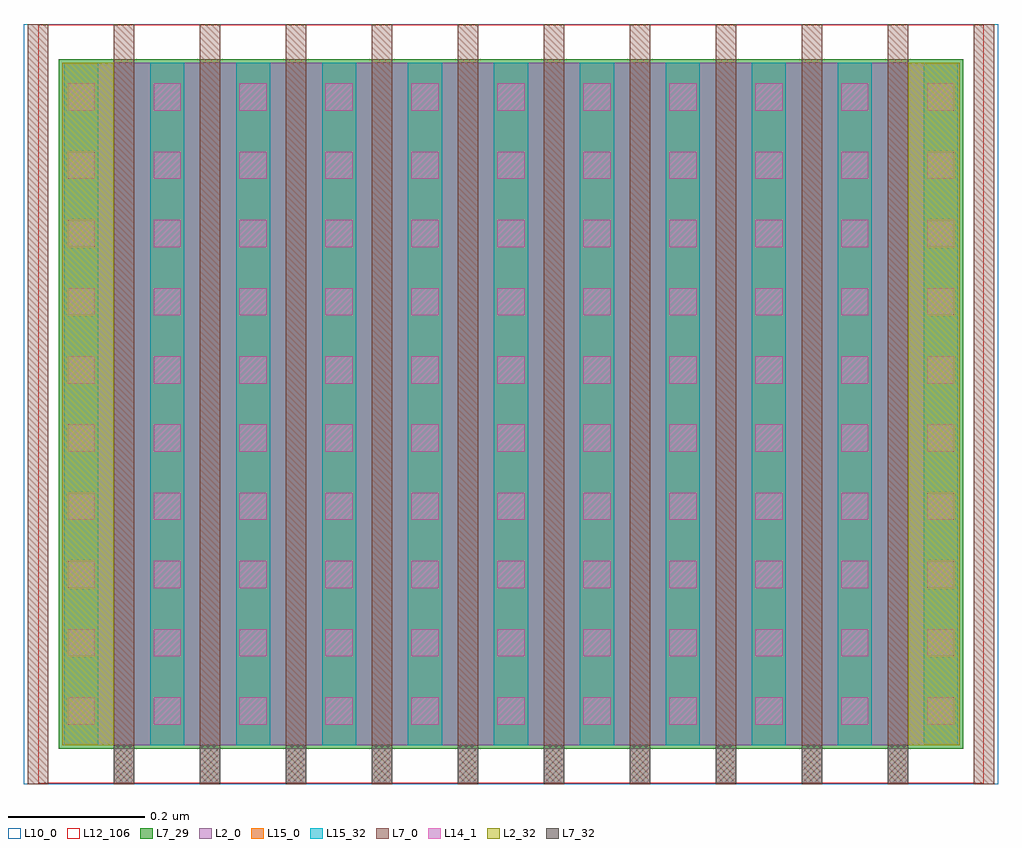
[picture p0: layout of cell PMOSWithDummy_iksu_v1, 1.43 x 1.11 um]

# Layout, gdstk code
import gdstk
lib = gdstk.Library(unit=1e-6, precision=1e-09)
def R(c, l, rs):  # rectangles x0, y0, x1, y1
    for r in rs: c.add(gdstk.rectangle(r[:2], r[2:], *l))
def A(c, l, x, y, w, h, nx, ny, dx, dy):  # array of equal rectangles
    R(c, l, [(x+i*dx, y+j*dy, x+i*dx+w, y+j*dy+h) for i in range(nx) for j in range(ny)])
L2_0 = (2, 0)
L2_32 = (2, 32)
L7_0 = (7, 0)
L7_29 = (7, 29)
L7_32 = (7, 32)
L10_0 = (10, 0)
L12_106 = (12, 106)
L14_1 = (14, 1)
L15_0 = (15, 0)
L15_32 = (15, 32)

pmoswithdummy_iksu_v1 = lib.new_cell('PMOSWithDummy_iksu_v1')
R(pmoswithdummy_iksu_v1, L2_0, [(-0.658,-0.5,0.658,0.5)])
R(pmoswithdummy_iksu_v1, L2_32, [(-0.658,-0.5,-0.582,0.5), (0.582,-0.5,0.658,0.5)])
A(pmoswithdummy_iksu_v1, L7_0, -0.708, -0.557, 0.03, 1.114, 12, 1, 0.126, 0)
R(pmoswithdummy_iksu_v1, L7_29, [(-0.663,-0.505,0.663,0.505)])
A(pmoswithdummy_iksu_v1, L7_32, -0.582, -0.557, 0.03, 0.057, 10, 1, 0.126, 0)
R(pmoswithdummy_iksu_v1, L10_0, [(-0.714,-0.557,0.714,0.557)])
R(pmoswithdummy_iksu_v1, L12_106, [(-0.693,-0.556,0.693,0.556)])
A(pmoswithdummy_iksu_v1, L14_1, -0.65, -0.47, 0.04, 0.04, 11, 10, 0.126, 0.1)
A(pmoswithdummy_iksu_v1, L15_0, -0.655, -0.5, 0.05, 1, 11, 1, 0.126, 0)
A(pmoswithdummy_iksu_v1, L15_32, -0.655, -0.5, 0.05, 1, 11, 1, 0.126, 0)

lib.write_gds('PMOSWithDummy_iksu_v1.gds')
